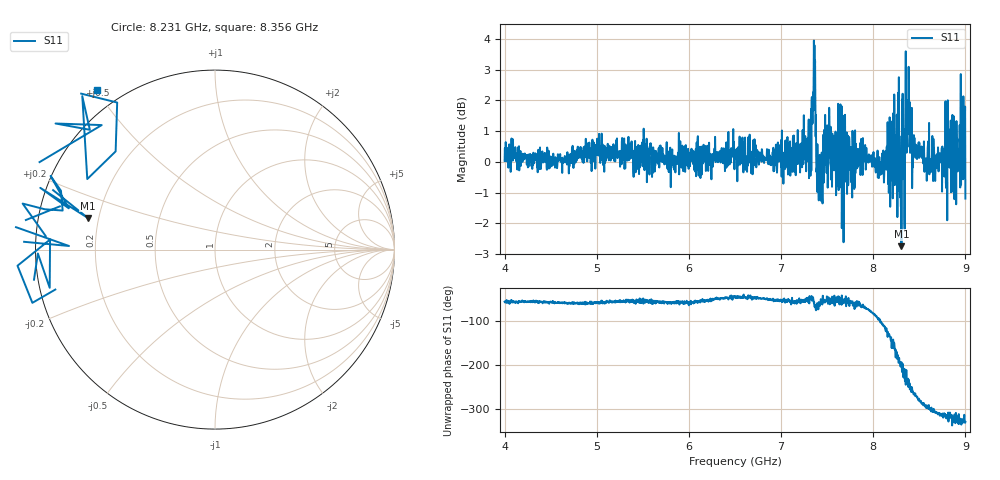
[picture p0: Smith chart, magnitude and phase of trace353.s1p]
! Created with skrf 1.8.0 (http://scikit-rf.org).
# Hz S RI R 50.0
!freq ReS11 ImS11
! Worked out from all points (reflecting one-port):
!   1601 points, 4 GHz to 9 GHz, reference 50 ohm
!   lowest |S11| = -2.7 dB at 8.306 GHz (marker M1), VSWR 6.40, Z = 7.93 + j5.97 ohm
!   phase of S11 starts at -57 deg and turns -271 deg over the sweep
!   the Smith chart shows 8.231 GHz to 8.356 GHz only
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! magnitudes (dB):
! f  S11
! 4 GHz  0.0
! 4.625 GHz  -0.4
! 5.25 GHz  0.2
! 5.875 GHz  0.1
! 6.5 GHz  0.2
! 7.125 GHz  0.3
! 7.294 GHz  0.7
! 7.328 GHz  -0.3
! 7.347 GHz  2.3
! 7.372 GHz  2.2
! 7.4 GHz  -0.3
! 7.425 GHz  -0.4
! 7.512 GHz  -0.1
! 7.75 GHz  -0.3
! 8.097 GHz  0.3
! 8.244 GHz  -0.7
! 8.306 GHz  -2.7
! 8.316 GHz  1.0
! 8.334 GHz  1.1
! 8.35 GHz  2.1
! 8.375 GHz  1.3
! 8.447 GHz  0.8
! 8.559 GHz  0.1
! 8.778 GHz  0.1
! 8.834 GHz  0.9
! 8.906 GHz  0.4
! 8.972 GHz  0.7
! 9 GHz  -1.2
